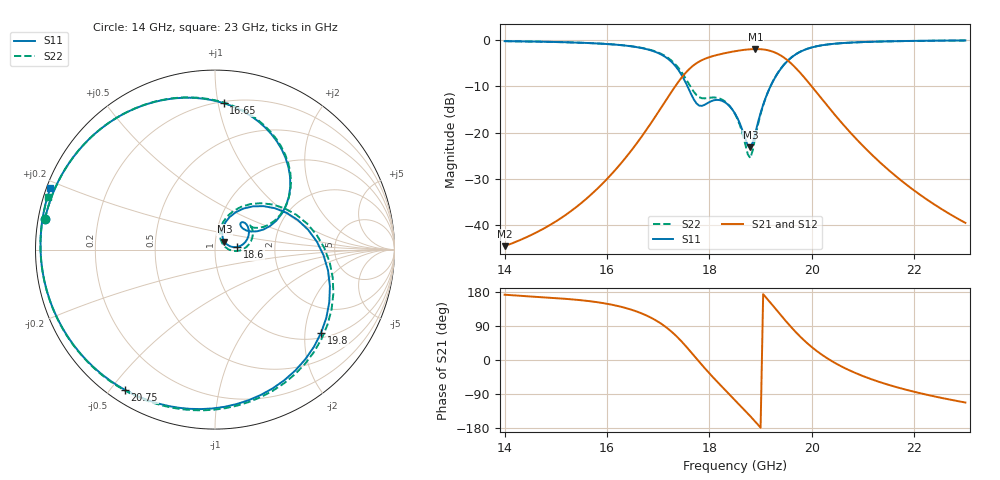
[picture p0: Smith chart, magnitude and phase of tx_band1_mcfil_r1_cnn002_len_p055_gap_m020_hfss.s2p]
! Touchstone file exported from HFSS 3D Layout Design 2026.1.0
!  File:  D:/Work/SIM/ADS_AUTO_SIM/projects/RFSOC_RF/TX_Fillter.aedt
!  Generated:  10:25:00 PM Aug 30, 2026
!  Design:  TX_BAND1_MCFIL_R1_CNN002_P2UP_GRAPHICAL_LC
!  Project:  TX_Fillter
# GHz S MA R 50.000000
! Terminal data exported
! Port[1] = Port1
! Port[2] = Port2
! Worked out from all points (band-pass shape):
!   181 points, 14 GHz to 23 GHz, reference 50 ohm
!   highest |S21| = -2.03 dB at 18.9 GHz (marker M1); lowest = -44.5 dB at 14 GHz (marker M2)
!   |S21| within 3 dB of the highest: 17.76 GHz to 19.59 GHz (1.83 GHz wide, 9.8 % of centre)
!   lowest |S11| = -23.2 dB at 18.8 GHz (marker M3), VSWR 1.15, Z = 55.3 + j5 ohm
!   |S11| at or under -10 dB: 17.57 GHz to 19.2 GHz (1.626 GHz wide, 8.85 % of centre)
!   |S22| runs from -25.5 to -0.2 dB; largest |S21 - S12| = 1.4e-14
!   S11 on the Smith chart (normalised r, x): 14 GHz: 0.02, +0.09; 16.65 GHz: 0.21, +1.04; 18.6 GHz: 1.28, +0.04; 19.8 GHz: 1.14, -2.43; 20.75 GHz: 0.05, -0.55; 23 GHz: 0.01, +0.18
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14  0.9627 169.9  0.005975 172.3  0.005975 172.3  0.9624 169.9
15.5  0.9253 132.8  0.01745 157.7  0.01745 157.7  0.9252 132.6
16.65  0.8171 86.5  0.08619 124.4  0.08619 124.4  0.8207 86.6
17  0.7168 64.1  0.1654 100.9  0.1654 100.9  0.7259 64.8
17.25  0.5828 44.1  0.2695 76.0  0.2695 76.0  0.6006 45.7
17.5  0.3775 25.2  0.4167 42.6  0.4167 42.6  0.4112 28.0
17.85  0.1936 41.4  0.5998 -12.5  0.5998 -12.5  0.2342 33.8
18.2  0.2233 35.0  0.6944 -64.0  0.6944 -64.0  0.2322 24.9
18.5  0.1602 10.9  0.7502 -105.7  0.7502 -105.7  0.1584 1.1
18.6  0.1233 6.6  0.7656 -119.7  0.7656 -119.7  0.1181 -4.1
18.8  0.06896 40.7  0.7876 -148.5  0.7876 -148.5  0.05304 39.5
18.9  0.1005 66.8  0.7916 -163.3  0.7916 -163.3  0.09079 72.8
19.1  0.2377 61.1  0.7766 165.8  0.7766 165.8  0.2365 64.8
19.35  0.4481 27.2  0.6966 125.6  0.6966 125.6  0.4508 30.6
19.6  0.6402 -10.4  0.5516 86.4  0.5516 86.4  0.6434 -6.4
19.8  0.7512 -38.1  0.4232 58.2  0.4232 58.2  0.7535 -33.7
20  0.8237 -62.0  0.3126 34.0  0.3126 34.0  0.825 -57.3
20.35  0.8921 -95.0  0.1806 0.4  0.1806 0.4  0.8918 -90.2
20.75  0.9285 -122.6  0.1002 -28.2  0.1002 -28.2  0.9272 -118.0
21.5  0.959 -157.9  0.03944 -65.6  0.03944 -65.6  0.9574 -153.9
22.15  0.9715 -179.3  0.0207 -88.7  0.0207 -88.7  0.9702 -175.7
23  0.9793 159.4  0.01064 -112.2  0.01064 -112.2  0.9782 162.5
